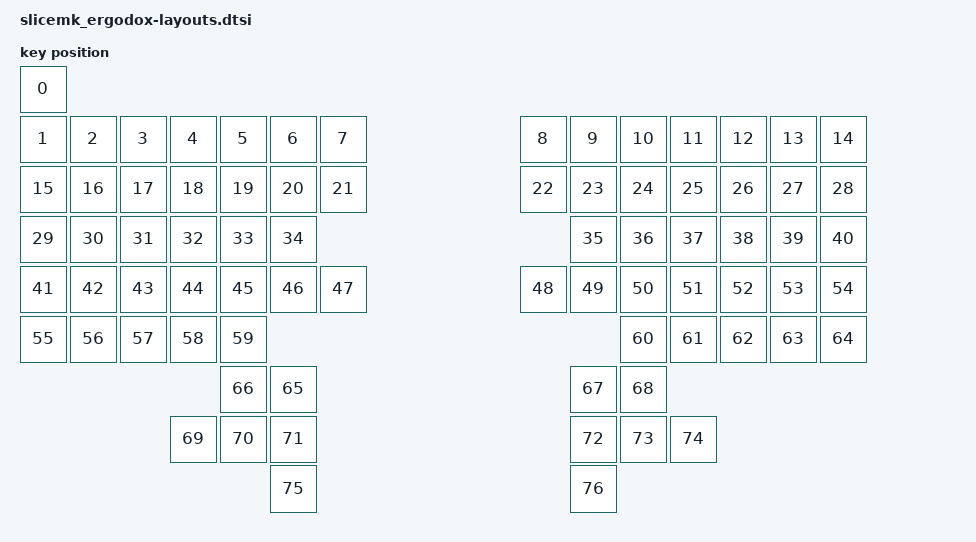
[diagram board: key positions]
#include <physical_layouts.dtsi>

/ {
    slicemk_ergodox_layout: slicemk_ergodox_layout {
        compatible = "zmk,physical-layout";
        display-name = "ErgoDox";

        transform = <&default_transform>;

        keys  //                     w   h    x    y     rot   rx    ry
            // Row 0 - Bootloader button (dongle only)
            = <&key_physical_attrs 100 100    0    0       0     0     0>  // RC(0,0)

            // Row 1 - Number row
            , <&key_physical_attrs 100 100    0  100       0     0     0>  // RC(1,0) GRAVE
            , <&key_physical_attrs 100 100  100  100       0     0     0>  // RC(1,1) 1
            , <&key_physical_attrs 100 100  200  100       0     0     0>  // RC(1,2) 2
            , <&key_physical_attrs 100 100  300  100       0     0     0>  // RC(1,3) 3
            , <&key_physical_attrs 100 100  400  100       0     0     0>  // RC(1,4) 4
            , <&key_physical_attrs 100 100  500  100       0     0     0>  // RC(1,5) 5
            , <&key_physical_attrs 100 100  600  100       0     0     0>  // RC(1,6) PRINTSCREEN
            , <&key_physical_attrs 100 100 1000  100       0     0     0>  // RC(1,7) NONE
            , <&key_physical_attrs 100 100 1100  100       0     0     0>  // RC(1,8) 6
            , <&key_physical_attrs 100 100 1200  100       0     0     0>  // RC(1,9) 7
            , <&key_physical_attrs 100 100 1300  100       0     0     0>  // RC(1,10) 8
            , <&key_physical_attrs 100 100 1400  100       0     0     0>  // RC(1,11) 9
            , <&key_physical_attrs 100 100 1500  100       0     0     0>  // RC(1,12) 0
            , <&key_physical_attrs 100 100 1600  100       0     0     0>  // RC(1,13) K_APPLICATION

            // Row 2 - Top alpha row
            , <&key_physical_attrs 100 100    0  200       0     0     0>  // RC(2,0) TAB
            , <&key_physical_attrs 100 100  100  200       0     0     0>  // RC(2,1) Q
            , <&key_physical_attrs 100 100  200  200       0     0     0>  // RC(2,2) W
            , <&key_physical_attrs 100 100  300  200       0     0     0>  // RC(2,3) E
            , <&key_physical_attrs 100 100  400  200       0     0     0>  // RC(2,4) R
            , <&key_physical_attrs 100 100  500  200       0     0     0>  // RC(2,5) T
            , <&key_physical_attrs 100 100  600  200       0     0     0>  // RC(2,6) CAPSLOCK
            , <&key_physical_attrs 100 100 1000  200       0     0     0>  // RC(2,7) C_MUTE
            , <&key_physical_attrs 100 100 1100  200       0     0     0>  // RC(2,8) Y
            , <&key_physical_attrs 100 100 1200  200       0     0     0>  // RC(2,9) U
            , <&key_physical_attrs 100 100 1300  200       0     0     0>  // RC(2,10) I
            , <&key_physical_attrs 100 100 1400  200       0     0     0>  // RC(2,11) O
            , <&key_physical_attrs 100 100 1500  200       0     0     0>  // RC(2,12) P
            , <&key_physical_attrs 100 100 1600  200       0     0     0>  // RC(2,13) BACKSLASH

            // Row 3 - Home row (no keys at columns 6 and 7)
            , <&key_physical_attrs 100 100    0  300       0     0     0>  // RC(3,0) ESCAPE
            , <&key_physical_attrs 100 100  100  300       0     0     0>  // RC(3,1) A
            , <&key_physical_attrs 100 100  200  300       0     0     0>  // RC(3,2) S
            , <&key_physical_attrs 100 100  300  300       0     0     0>  // RC(3,3) D
            , <&key_physical_attrs 100 100  400  300       0     0     0>  // RC(3,4) F
            , <&key_physical_attrs 100 100  500  300       0     0     0>  // RC(3,5) G
            , <&key_physical_attrs 100 100 1100  300       0     0     0>  // RC(3,8) H
            , <&key_physical_attrs 100 100 1200  300       0     0     0>  // RC(3,9) J
            , <&key_physical_attrs 100 100 1300  300       0     0     0>  // RC(3,10) K
            , <&key_physical_attrs 100 100 1400  300       0     0     0>  // RC(3,11) L
            , <&key_physical_attrs 100 100 1500  300       0     0     0>  // RC(3,12) SEMICOLON
            , <&key_physical_attrs 100 100 1600  300       0     0     0>  // RC(3,13) BACKSPACE

            // Row 4 - Bottom alpha row
            , <&key_physical_attrs 100 100    0  400       0     0     0>  // RC(4,0) MO(SYMB)
            , <&key_physical_attrs 100 100  100  400       0     0     0>  // RC(4,1) Z
            , <&key_physical_attrs 100 100  200  400       0     0     0>  // RC(4,2) X
            , <&key_physical_attrs 100 100  300  400       0     0     0>  // RC(4,3) C
            , <&key_physical_attrs 100 100  400  400       0     0     0>  // RC(4,4) V
            , <&key_physical_attrs 100 100  500  400       0     0     0>  // RC(4,5) B
            , <&key_physical_attrs 100 100  600  400       0     0     0>  // RC(4,6) C_VOLUME_DOWN
            , <&key_physical_attrs 100 100 1000  400       0     0     0>  // RC(4,7) C_VOLUME_UP
            , <&key_physical_attrs 100 100 1100  400       0     0     0>  // RC(4,8) N
            , <&key_physical_attrs 100 100 1200  400       0     0     0>  // RC(4,9) M
            , <&key_physical_attrs 100 100 1300  400       0     0     0>  // RC(4,10) COMMA
            , <&key_physical_attrs 100 100 1400  400       0     0     0>  // RC(4,11) PERIOD
            , <&key_physical_attrs 100 100 1500  400       0     0     0>  // RC(4,12) SLASH
            , <&key_physical_attrs 100 100 1600  400       0     0     0>  // RC(4,13) MO(SYMB)

            // Row 5 - Bottom modifier row (no keys at columns 5-8)
            , <&key_physical_attrs 100 100    0  500       0     0     0>  // RC(5,0) NONE
            , <&key_physical_attrs 100 100  100  500       0     0     0>  // RC(5,1) MO(MOUSE)
            , <&key_physical_attrs 100 100  200  500       0     0     0>  // RC(5,2) LEFT_ALT
            , <&key_physical_attrs 100 100  300  500       0     0     0>  // RC(5,3) LEFT_ARROW
            , <&key_physical_attrs 100 100  400  500       0     0     0>  // RC(5,4) UP_ARROW
            , <&key_physical_attrs 100 100 1200  500       0     0     0>  // RC(5,9) DOWN_ARROW
            , <&key_physical_attrs 100 100 1300  500       0     0     0>  // RC(5,10) RIGHT_ARROW
            , <&key_physical_attrs 100 100 1400  500       0     0     0>  // RC(5,11) RIGHT_ALT
            , <&key_physical_attrs 100 100 1500  500       0     0     0>  // RC(5,12) MO(MOUSE)
            , <&key_physical_attrs 100 100 1600  500       0     0     0>  // RC(5,13) TO(NMPAD)

            // Row 6 - Thumb cluster
            , <&key_physical_attrs 100 100  500  600       0     0     0>  // RC(6,6) DELETE
            , <&key_physical_attrs 100 100  400  600       0     0     0>  // RC(6,5) HOME
            , <&key_physical_attrs 100 100 1100  600       0     0     0>  // RC(6,8) END
            , <&key_physical_attrs 100 100 1200  600       0     0     0>  // RC(6,7) INSERT
            , <&key_physical_attrs 100 100  300  700       0     0     0>  // RC(6,4) LEFT_SHIFT
            , <&key_physical_attrs 100 100  400  700       0     0     0>  // RC(6,3) LEFT_CONTROL
            , <&key_physical_attrs 100 100  500  700       0     0     0>  // RC(6,2) PAGE_UP
            , <&key_physical_attrs 100 100 1100  700       0     0     0>  // RC(6,11) PAGE_DOWN
            , <&key_physical_attrs 100 100 1200  700       0     0     0>  // RC(6,10) SPACE
            , <&key_physical_attrs 100 100 1300  700       0     0     0>  // RC(6,9) LEFT_GUI
            , <&key_physical_attrs 100 100  500  800       0     0     0>  // RC(6,1) RETURN
            , <&key_physical_attrs 100 100 1100  800       0     0     0>  // RC(6,12) MO(FN)
            ;
    };
};
